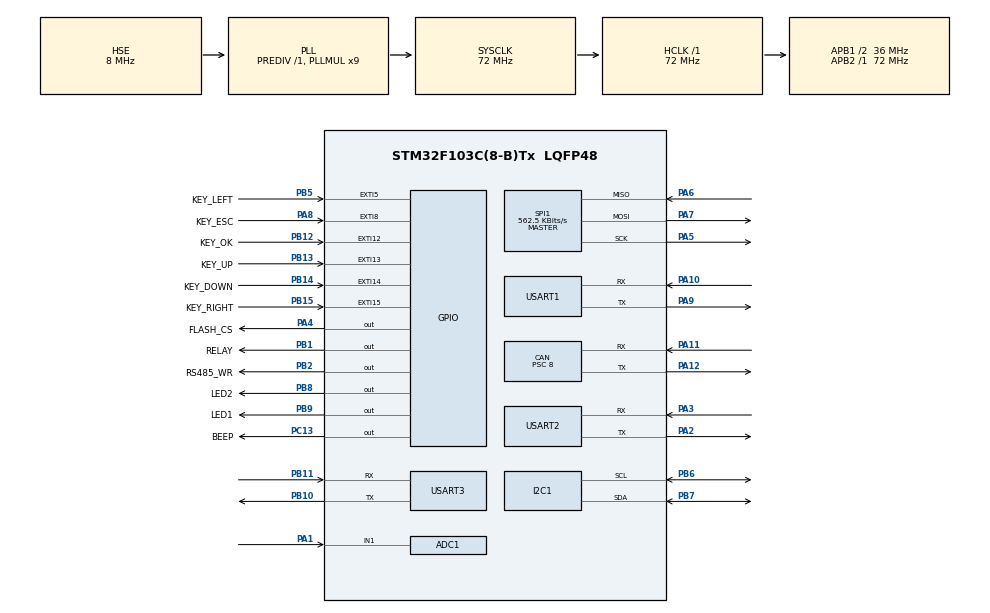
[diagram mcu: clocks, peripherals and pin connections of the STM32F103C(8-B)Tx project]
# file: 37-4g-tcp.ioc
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ADC1.Channel-0\#ChannelRegularConversion=ADC_CHANNEL_1
ADC1.NbrOfConversionFlag=1
ADC1.Rank-0\#ChannelRegularConversion=1
ADC1.SamplingTime-0\#ChannelRegularConversion=ADC_SAMPLETIME_239CYCLES_5
ADC1.master=1
CAN.BS1=CAN_BS1_6TQ
CAN.BS2=CAN_BS2_2TQ
CAN.CalculateBaudRate=500000
CAN.CalculateTimeBit=2000
CAN.CalculateTimeQuantum=222.22222222222223
CAN.Prescaler=8
Dma.Request0=USART1_RX
Dma.Request1=USART2_RX
Dma.Request2=USART3_RX
Dma.USART1_RX.0.Direction=DMA_PERIPH_TO_MEMORY
Dma.USART1_RX.0.Instance=DMA1_Channel5
Dma.USART1_RX.0.MemDataAlignment=DMA_MDATAALIGN_BYTE
Dma.USART1_RX.0.MemInc=DMA_MINC_ENABLE
Dma.USART1_RX.0.Mode=DMA_CIRCULAR
Dma.USART1_RX.0.PeriphDataAlignment=DMA_PDATAALIGN_BYTE
Dma.USART1_RX.0.PeriphInc=DMA_PINC_DISABLE
Dma.USART1_RX.0.Priority=DMA_PRIORITY_LOW
Dma.USART2_RX.1.Direction=DMA_PERIPH_TO_MEMORY
Dma.USART2_RX.1.Instance=DMA1_Channel6
Dma.USART2_RX.1.MemDataAlignment=DMA_MDATAALIGN_BYTE
Dma.USART2_RX.1.MemInc=DMA_MINC_ENABLE
Dma.USART2_RX.1.Mode=DMA_CIRCULAR
Dma.USART2_RX.1.PeriphDataAlignment=DMA_PDATAALIGN_BYTE
Dma.USART2_RX.1.PeriphInc=DMA_PINC_DISABLE
Dma.USART2_RX.1.Priority=DMA_PRIORITY_LOW
Dma.USART3_RX.2.Direction=DMA_PERIPH_TO_MEMORY
Dma.USART3_RX.2.Instance=DMA1_Channel3
Dma.USART3_RX.2.MemDataAlignment=DMA_MDATAALIGN_BYTE
Dma.USART3_RX.2.MemInc=DMA_MINC_ENABLE
Dma.USART3_RX.2.Mode=DMA_CIRCULAR
Dma.USART3_RX.2.PeriphDataAlignment=DMA_PDATAALIGN_BYTE
Dma.USART3_RX.2.PeriphInc=DMA_PINC_DISABLE
Dma.USART3_RX.2.Priority=DMA_PRIORITY_LOW
Mcu.Family=STM32F1
Mcu.Name=STM32F103C(8-B)Tx
Mcu.Package=LQFP48
NVIC.DMA1_Channel3_IRQn=true\:0\:0\:false\:false\:true\:false\:true\:true
NVIC.DMA1_Channel5_IRQn=true\:0\:0\:false\:false\:true\:false\:true\:true
NVIC.DMA1_Channel6_IRQn=true\:0\:0\:false\:false\:true\:false\:true\:true
NVIC.EXTI15_10_IRQn=true\:0\:0\:true\:false\:true\:true\:true\:true
NVIC.EXTI9_5_IRQn=true\:0\:0\:true\:false\:true\:true\:true\:true
NVIC.PriorityGroup=NVIC_PRIORITYGROUP_4
NVIC.TIM4_IRQn=true\:0\:0\:false\:false\:true\:true\:true\:true
NVIC.USART1_IRQn=true\:0\:0\:false\:false\:true\:true\:true\:true
NVIC.USART2_IRQn=true\:0\:0\:false\:false\:true\:true\:true\:true
NVIC.USART3_IRQn=true\:0\:0\:false\:false\:true\:true\:true\:true
NVIC.USB_LP_CAN1_RX0_IRQn=true\:0\:0\:false\:false\:true\:true\:true\:true
PA1.Signal=ADCx_IN1
PA10.Mode=Asynchronous
PA10.Signal=USART1_RX
PA11.Mode=CAN_Activate
PA11.Signal=CAN_RX
PA12.Mode=CAN_Activate
PA12.Signal=CAN_TX
PA13.Mode=Serial_Wire
PA13.Signal=SYS_JTMS-SWDIO
PA14.Mode=Serial_Wire
PA14.Signal=SYS_JTCK-SWCLK
PA2.Mode=Asynchronous
PA2.Signal=USART2_TX
PA3.Mode=Asynchronous
PA3.Signal=USART2_RX
PA4.GPIO_Label=FLASH_CS
PA4.GPIO_Speed=GPIO_SPEED_FREQ_HIGH
PA4.PinState=GPIO_PIN_SET
PA4.Signal=GPIO_Output
PA5.Mode=Full_Duplex_Master
PA5.Signal=SPI1_SCK
PA6.Mode=Full_Duplex_Master
PA6.Signal=SPI1_MISO
PA7.Mode=Full_Duplex_Master
PA7.Signal=SPI1_MOSI
PA8.GPIO_Label=KEY_ESC
PA8.GPIO_ModeDefaultEXTI=GPIO_MODE_IT_FALLING
PA8.GPIO_PuPd=GPIO_PULLUP
PA8.Signal=GPXTI8
PA9.Mode=Asynchronous
PA9.Signal=USART1_TX
PB1.GPIO_Label=RELAY
PB1.Signal=GPIO_Output
PB10.Mode=Asynchronous
PB10.Signal=USART3_TX
PB11.Mode=Asynchronous
PB11.Signal=USART3_RX
PB12.GPIO_Label=KEY_OK
PB12.GPIO_ModeDefaultEXTI=GPIO_MODE_IT_FALLING
PB12.GPIO_PuPd=GPIO_PULLUP
PB12.Signal=GPXTI12
PB13.GPIO_Label=KEY_UP
PB13.GPIO_ModeDefaultEXTI=GPIO_MODE_IT_FALLING
PB13.GPIO_PuPd=GPIO_PULLUP
PB13.Signal=GPXTI13
PB14.GPIO_Label=KEY_DOWN
PB14.GPIO_ModeDefaultEXTI=GPIO_MODE_IT_FALLING
PB14.GPIO_PuPd=GPIO_PULLUP
PB14.Signal=GPXTI14
PB15.GPIO_Label=KEY_RIGHT
PB15.GPIO_ModeDefaultEXTI=GPIO_MODE_IT_FALLING
PB15.GPIO_PuPd=GPIO_PULLUP
PB15.Signal=GPXTI15
PB2.GPIO_Label=RS485_WR
PB2.Signal=GPIO_Output
PB5.GPIO_Label=KEY_LEFT
PB5.GPIO_ModeDefaultEXTI=GPIO_MODE_IT_FALLING
PB5.GPIO_PuPd=GPIO_PULLUP
PB5.Signal=GPXTI5
PB6.Mode=I2C
PB6.Signal=I2C1_SCL
PB7.Mode=I2C
PB7.Signal=I2C1_SDA
PB8.GPIO_Label=LED2
PB8.PinState=GPIO_PIN_SET
PB8.Signal=GPIO_Output
PB9.GPIO_Label=LED1
PB9.PinState=GPIO_PIN_SET
PB9.Signal=GPIO_Output
PC13-TAMPER-RTC.GPIO_Label=BEEP
PC13-TAMPER-RTC.Signal=GPIO_Output
PC14-OSC32_IN.Mode=LSE-External-Oscillator
PC14-OSC32_IN.Signal=RCC_OSC32_IN
PC15-OSC32_OUT.Mode=LSE-External-Oscillator
PC15-OSC32_OUT.Signal=RCC_OSC32_OUT
PD0-OSC_IN.Mode=HSE-External-Oscillator
PD0-OSC_IN.Signal=RCC_OSC_IN
PD1-OSC_OUT.Mode=HSE-External-Oscillator
PD1-OSC_OUT.Signal=RCC_OSC_OUT
ProjectManager.HeapSize=0x200
ProjectManager.StackSize=0x400
ProjectManager.TargetToolchain=MDK-ARM V5.32
RCC.ADCPresc=RCC_ADCPCLK2_DIV6
RCC.AHBFreq_Value=72000000
RCC.APB1CLKDivider=RCC_HCLK_DIV2
RCC.APB1Freq_Value=36000000
RCC.APB1TimFreq_Value=72000000
RCC.APB2Freq_Value=72000000
RCC.APB2TimFreq_Value=72000000
RCC.HCLKFreq_Value=72000000
RCC.PLLMUL=RCC_PLL_MUL9
RCC.PLLSourceVirtual=RCC_PLLSOURCE_HSE
RCC.RTCClockSelection=RCC_RTCCLKSOURCE_LSE
RCC.SYSCLKFreq_VALUE=72000000
RCC.SYSCLKSource=RCC_SYSCLKSOURCE_PLLCLK
RCC.USBFreq_Value=72000000
RTC.Date=4
RTC.Hours=10
RTC.Minutes=20
RTC.Month=RTC_MONTH_SEPTEMBER
RTC.Seconds=30
RTC.WeekDay=RTC_WEEKDAY_THURSDAY
RTC.Year=25
SH.ADCx_IN1.0=ADC1_IN1,IN1
SPI1.BaudRatePrescaler=SPI_BAUDRATEPRESCALER_128
SPI1.CalculateBaudRate=562.5 KBits/s
SPI1.Direction=SPI_DIRECTION_2LINES
SPI1.Mode=SPI_MODE_MASTER
SPI1.VirtualType=VM_MASTER
TIM4.Period=100
TIM4.Prescaler=7200-1
USART1.VirtualMode=VM_ASYNC
USART2.VirtualMode=VM_ASYNC
USART3.VirtualMode=VM_ASYNC
VP_RTC_VS_RTC_Activate.Mode=RTC_Enabled
VP_RTC_VS_RTC_Calendar.Mode=RTC_Calendar
VP_TIM4_VS_ClockSourceINT.Mode=Internal
board=custom

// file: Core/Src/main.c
/* USER CODE BEGIN Header */
/**
  ******************************************************************************
  * @file           : main.c
  * @brief          : Main program body
  ******************************************************************************
  * @attention
  *
  * Copyright (c) 2025 STMicroelectronics.
  * All rights reserved.
  *
  * This software is licensed under terms that can be found in the LICENSE file
  * in the root directory of this software component.
  * If no LICENSE file comes with this software, it is provided AS-IS.
  *
  ******************************************************************************
  */
/* USER CODE END Header */
#include "main.h"
#include "adc.h"
#include "can.h"
#include "dma.h"
#include "i2c.h"
#include "rtc.h"
#include "spi.h"
#include "tim.h"
#include "usart.h"
#include "gpio.h"

/* USER CODE BEGIN Includes */
#include <stdio.h>
#include "oled.h"
#include "aht20.h"
#include "ina226.h"
#include "w25qx.h"
#include "wifi4g.h"
/* USER CODE END Includes */

void SystemClock_Config(void);

int main(void)
{

  /* MCU Configuration--------------------------------------------------------*/

  /* Reset of all peripherals, Initializes the Flash interface and the Systick. */
  HAL_Init();

  /* Configure the system clock */
  SystemClock_Config();

  /* Initialize all configured peripherals */
  MX_GPIO_Init();
  MX_DMA_Init();
  MX_I2C1_Init();
  MX_RTC_Init();
  MX_ADC1_Init();
  MX_SPI1_Init();
  MX_CAN_Init();
  MX_USART1_UART_Init();
  MX_USART2_UART_Init();
  MX_USART3_UART_Init();
  MX_TIM4_Init();
  /* USER CODE BEGIN 2 */
	HAL_Delay(400); // 这里延时是给esp8266 打印日志使用的
	// 经过测试 , 400ms时, 日志输出就没有了, 为了安全,我们设置400ms 以上的延时
	// 等待esp8266 输出初始化日志, 要不然一旦开启uart3就会触发dma中断,早期的esp8266初始化的数据波特率不是
	// 115200, 会造成uart3的错误,要在uart3中做错误恢复

	__HAL_UART_ENABLE_IT(&huart1, UART_IT_IDLE); //使能串UART1 IDLE(空闲)中断
	HAL_UART_Receive_DMA(&huart1, RX1_Buf, DMA_BUF_SIZE); //设置DMA传输，将uart1的数据搬运到RX1_Buf中

	__HAL_UART_ENABLE_IT(&huart2, UART_IT_IDLE); //使能串UART1 IDLE(空闲)中断
	HAL_UART_Receive_DMA(&huart2, RX2_Buf, DMA_BUF_SIZE); //设置DMA传输，将uart1的数据搬运到RX2_Buf中

	__HAL_UART_ENABLE_IT(&huart3, UART_IT_IDLE); //使能串UART3 IDLE(空闲)中断
	HAL_UART_Receive_DMA(&huart3, RX3_Buf, DMA_BUF_SIZE); //设置DMA传输，将uart3的数据搬运到RX3_Buf中

	printf("Uart1 init is ok\n");
	printf("WIFI4G Test\n");
	//EEPROM_Test();

	OLED_Init();
	OLED_CLS(); // 清除屏幕显示
	OLED_ShowStr(16,0, (unsigned char*)"WIFI4G Test", 2);
	AHT20_Init();
	INA226_Init();

	//W25Qx_Test();
	CANFilter_Init();
	CAN_Start_Init();
	//ESP8266_Init();
  /* USER CODE END 2 */

  /* Infinite loop */
  while (1)
  {

    /* USER CODE BEGIN 3 */
		//LED_Test();
		//BEEP_Test();
		//RELAY_Test();
		//KEY_Test();
		//OLED_Test();
		//AHT20_Test();
		//INA226_Test();
		//IWDG_Test();
		//RTC_Test();
		//ADC_VR_Test();
		//ADC_CPU_Test();
		//ADC_VR_CPU_Test();
		//CAN_Test();
		//ESP8266_Test();
		ML307_Test();

  }
  /* USER CODE END 3 */
}

void SystemClock_Config(void)
{
  RCC_OscInitTypeDef RCC_OscInitStruct = {0};
  RCC_ClkInitTypeDef RCC_ClkInitStruct = {0};
  RCC_PeriphCLKInitTypeDef PeriphClkInit = {0};

  /** Initializes the RCC Oscillators according to the specified parameters
  * in the RCC_OscInitTypeDef structure.
  */
  RCC_OscInitStruct.OscillatorType = RCC_OSCILLATORTYPE_HSE|RCC_OSCILLATORTYPE_LSE;
  RCC_OscInitStruct.HSEState = RCC_HSE_ON;
  RCC_OscInitStruct.HSEPredivValue = RCC_HSE_PREDIV_DIV1;
  RCC_OscInitStruct.LSEState = RCC_LSE_ON;
  RCC_OscInitStruct.HSIState = RCC_HSI_ON;
  RCC_OscInitStruct.PLL.PLLState = RCC_PLL_ON;
  RCC_OscInitStruct.PLL.PLLSource = RCC_PLLSOURCE_HSE;
  RCC_OscInitStruct.PLL.PLLMUL = RCC_PLL_MUL9;
  if (HAL_RCC_OscConfig(&RCC_OscInitStruct) != HAL_OK)
  {
    Error_Handler();
  }

  /** Initializes the CPU, AHB and APB buses clocks
  */
  RCC_ClkInitStruct.ClockType = RCC_CLOCKTYPE_HCLK|RCC_CLOCKTYPE_SYSCLK
                              |RCC_CLOCKTYPE_PCLK1|RCC_CLOCKTYPE_PCLK2;
  RCC_ClkInitStruct.SYSCLKSource = RCC_SYSCLKSOURCE_PLLCLK;
  RCC_ClkInitStruct.AHBCLKDivider = RCC_SYSCLK_DIV1;
  RCC_ClkInitStruct.APB1CLKDivider = RCC_HCLK_DIV2;
  RCC_ClkInitStruct.APB2CLKDivider = RCC_HCLK_DIV1;

  if (HAL_RCC_ClockConfig(&RCC_ClkInitStruct, FLASH_LATENCY_2) != HAL_OK)
  {
    Error_Handler();
  }
  PeriphClkInit.PeriphClockSelection = RCC_PERIPHCLK_RTC|RCC_PERIPHCLK_ADC;
  PeriphClkInit.RTCClockSelection = RCC_RTCCLKSOURCE_LSE;
  PeriphClkInit.AdcClockSelection = RCC_ADCPCLK2_DIV6;
  if (HAL_RCCEx_PeriphCLKConfig(&PeriphClkInit) != HAL_OK)
  {
    Error_Handler();
  }
}

void Error_Handler(void)
{
  __disable_irq();
  while (1)
  {
  }
}
